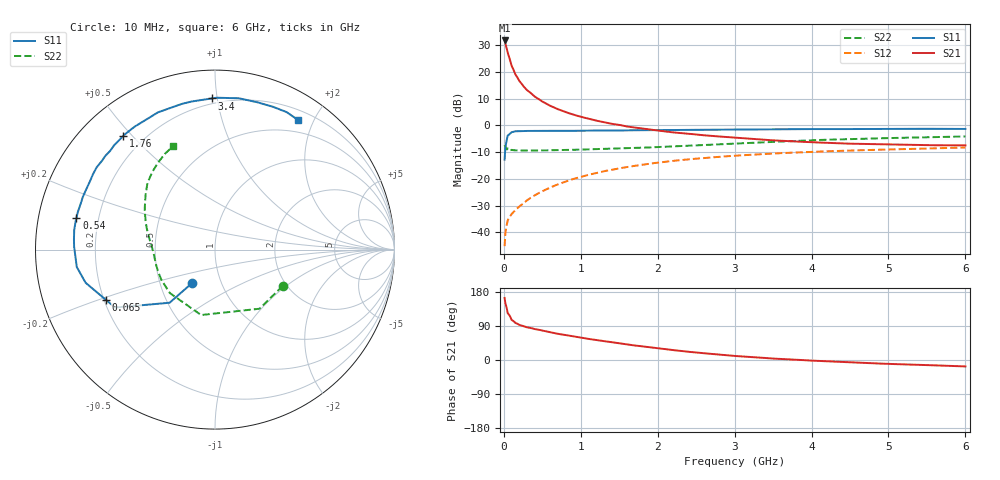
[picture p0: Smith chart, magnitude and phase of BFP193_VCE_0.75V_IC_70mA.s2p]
! Infineon Technologies  Discrete & RF Semiconductors
! BFP193
! VCE = 0.75V,  IC =  70 mA
! Common Emitter S-Parameters:  Jan 2016
# GHz  S  MA  R  50
!  f  S11  S21  S12  S22
! GHz  MAG  ANG  MAG  ANG  MAG  ANG  MAG  ANG
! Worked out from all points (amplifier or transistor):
!   210 points, 10 MHz to 6 GHz, reference 50 ohm
!   highest |S21| = 31.8 dB at 10 MHz (marker M1)
!   |S21| within 3 dB of that: start of sweep to 36.32 MHz
!   unconditionally stable (mu >= 1): start of sweep to 28.98 MHz; 170.9 MHz to end of sweep
!   at 185 MHz: K = 1.03, MAG = 23.0 dB, |S12| = -30.7 dB
!   at 1.52 GHz: K = 1.29, MAG = 4.8 dB, |S12| = -16.0 dB
!   at 6 GHz: K = 1.10, MAG = -1.5 dB, |S12| = -8.3 dB
!   S11 on the Smith chart (normalised r, x): 10 MHz: 0.72, -0.29; 65 MHz: 0.21, -0.21; 540 MHz: 0.12, +0.11; 1.76 GHz: 0.13, +0.47; 3.4 GHz: 0.17, +0.96; 6 GHz: 0.32, +1.77
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0.01  0.2287 -124.6  38.83 163.6  0.0055 60.8  0.4284 -28.3
0.02  0.3893 -130.5  34.53 149.2  0.0097 58.4  0.4121 -53.1
0.05  0.6435 -149.9  22.86 123.5  0.0167 46.8  0.3726 -102.0
0.065  0.6681 -155.1  19.8 120.1  0.0183 46.3  0.3524 -111.6
0.1  0.744 -165.6  13.14 106.0  0.0219 45.4  0.3492 -136.2
0.15  0.7761 -172.8  9.023 97.9  0.0261 48.5  0.3429 -150.5
0.2  0.7791 -177.3  6.857 92.8  0.0304 52.8  0.3401 -158.0
0.26  0.785 178.9  5.304 88.7  0.0353 55.6  0.3389 -163.7
0.3  0.7874 176.8  4.587 86.4  0.0395 58.2  0.339 -166.3
0.4  0.7919 172.1  3.474 81.7  0.049 61.3  0.3397 -170.8
0.5  0.7923 168.8  2.793 77.6  0.0585 62.8  0.3404 -174.0
0.54  0.7919 167.2  2.608 76.1  0.0625 63.2  0.3412 -174.9
0.7  0.7906 161.2  2.018 69.1  0.0786 63.6  0.3448 -178.2
1.02  0.7945 150.9  1.426 58.5  0.1107 61.1  0.3534 177.0
1.3  0.8002 142.4  1.148 49.7  0.1386 57.6  0.362 173.3
1.76  0.8134 129.1  0.89 36.9  0.1803 51.0  0.38 167.3
2.02  0.8181 122.4  0.796 30.5  0.2025 47.0  0.3943 163.7
3.1  0.8356 97.0  0.576 9.4  0.2763 30.4  0.4627 147.5
3.4  0.8422 91.3  0.537 5.3  0.2926 26.3  0.4837 143.3
4.1  0.8526 79.6  0.478 -2.5  0.3243 16.9  0.5338 134.0
5.1  0.8591 66.8  0.436 -10.9  0.3579 5.2  0.583 122.1
6  0.8579 57.6  0.423 -17.0  0.385 -4.7  0.621 112.3
